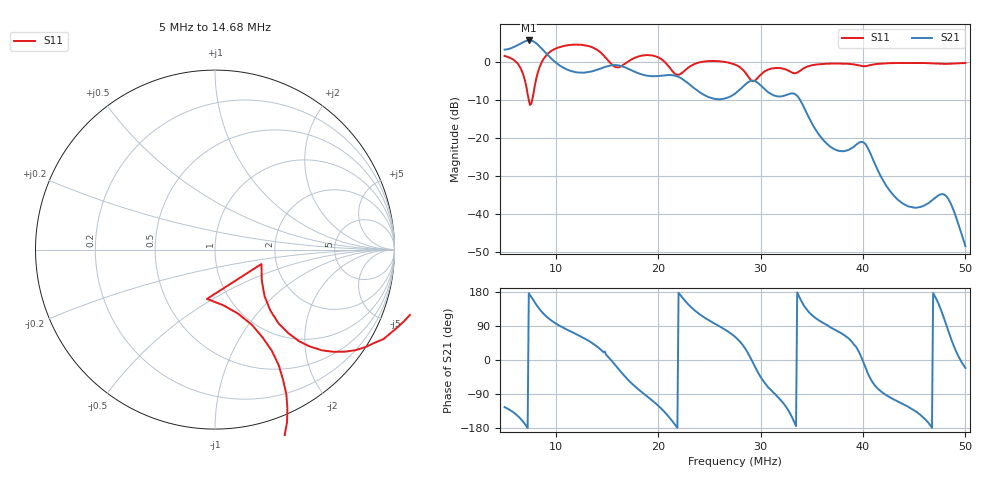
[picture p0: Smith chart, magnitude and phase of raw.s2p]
! S11/S21 only; reverse parameters are placeholders. Device calibration unverified.
! NanoVNA F V2 profile | COM3 | 2026-09-08T10:53:36.4103324-04:00 | device calibration unverified
# HZ S RI R 50
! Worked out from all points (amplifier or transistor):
!   401 points, 5 MHz to 50 MHz, reference 50 ohm
!   highest |S21| = 5.7 dB at 7.362 MHz (marker M1)
!   |S21| within 3 dB of that: start of sweep to 8.92 MHz
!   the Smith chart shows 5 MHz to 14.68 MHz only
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5000000  1.182 -0.2036  -0.8194 -1.197  0 0  0 0
6350000  0.724 -0.5687  -1.449 -0.8615  0 0  0 0
7362500  0.2607 -0.1739  -1.913 0.1245  0 0  0 0
8600000  0.4033 -0.8847  -0.9333 1.188  0 0  0 0
1.04e7  -0.0864 -1.567  0.000891 0.8938  0 0  0 0
1.25375e7  -0.9273 -1.398  0.3517 0.629  0 0  0 0
1.43375e7  -1.329 -0.184  0.7146 0.3908  0 0  0 0
1.58e7  -0.1231 0.8511  0.8842 -0.2071  0 0  0 0
1.77125e7  1.119 -0.1653  0.2624 -0.6923  0 0  0 0
2.0075e7  0.1572 -1.12  -0.3492 -0.5509  0 0  0 0
2.1425e7  -0.7233 -0.1795  -0.6379 -0.1961  0 0  0 0
2.26625e7  0.0654 0.7787  -0.5047 0.2355  0 0  0 0
2.44625e7  0.9261 0.4025  -0.1433 0.339  0 0  0 0
2.75e7  0.8874 -0.2507  0.1834 0.3351  0 0  0 0
2.91875e7  0.5417 -0.1462  0.5659 -0.0356  0 0  0 0
3.0425e7  0.752 -0.0534  0.2083 -0.38  0 0  0 0
3.32375e7  0.662 -0.2577  -0.3609 -0.1264  0 0  0 0
3.50375e7  0.8418 -0.3331  -0.0712 0.1352  0 0  0 0
4.01e7  0.6301 -0.6089  0.0848 -0.0147  0 0  0 0
4.2575e7  0.6164 -0.7368  -0.00271 -0.0202  0 0  0 0
4.7975e7  0.3818 -0.86  -0.00462 0.0171  0 0  0 0
5e7  0.3268 -0.9082  0.00348 -0.00134  0 0  0 0
